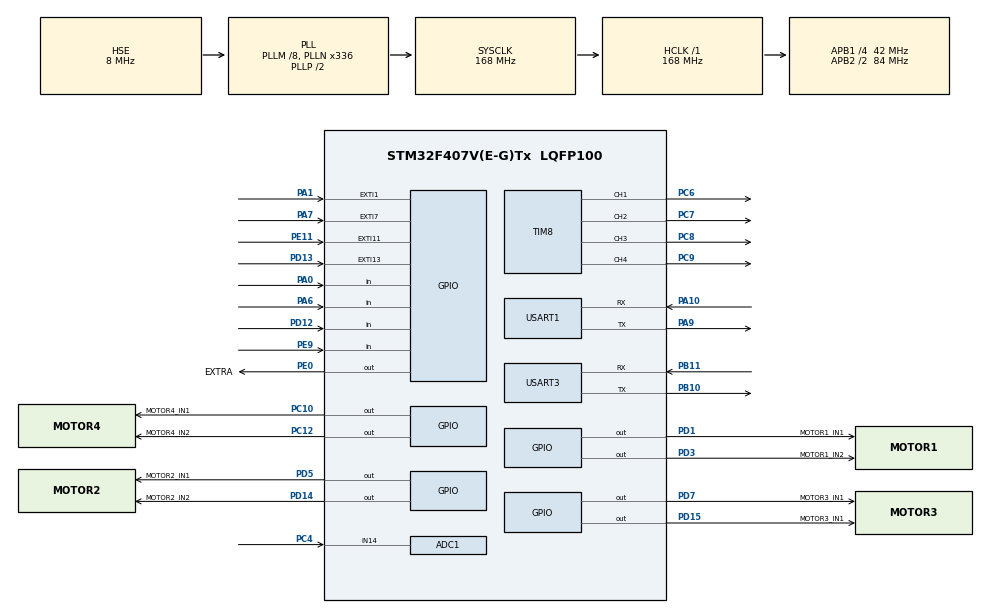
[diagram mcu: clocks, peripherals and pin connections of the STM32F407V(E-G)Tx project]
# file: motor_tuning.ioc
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ADC1.Channel-0\#ChannelRegularConversion=ADC_CHANNEL_14
ADC1.NbrOfConversionFlag=1
ADC1.Rank-0\#ChannelRegularConversion=1
ADC1.SamplingTime-0\#ChannelRegularConversion=ADC_SAMPLETIME_3CYCLES
ADC1.master=1
Dma.Request0=USART3_RX
Dma.Request1=USART3_TX
Dma.USART3_RX.0.Direction=DMA_PERIPH_TO_MEMORY
Dma.USART3_RX.0.FIFOMode=DMA_FIFOMODE_DISABLE
Dma.USART3_RX.0.Instance=DMA1_Stream1
Dma.USART3_RX.0.MemDataAlignment=DMA_MDATAALIGN_BYTE
Dma.USART3_RX.0.MemInc=DMA_MINC_ENABLE
Dma.USART3_RX.0.Mode=DMA_NORMAL
Dma.USART3_RX.0.PeriphDataAlignment=DMA_PDATAALIGN_BYTE
Dma.USART3_RX.0.PeriphInc=DMA_PINC_DISABLE
Dma.USART3_RX.0.Priority=DMA_PRIORITY_LOW
Dma.USART3_TX.1.Direction=DMA_MEMORY_TO_PERIPH
Dma.USART3_TX.1.FIFOMode=DMA_FIFOMODE_DISABLE
Dma.USART3_TX.1.Instance=DMA1_Stream3
Dma.USART3_TX.1.MemDataAlignment=DMA_MDATAALIGN_BYTE
Dma.USART3_TX.1.MemInc=DMA_MINC_ENABLE
Dma.USART3_TX.1.Mode=DMA_NORMAL
Dma.USART3_TX.1.PeriphDataAlignment=DMA_PDATAALIGN_BYTE
Dma.USART3_TX.1.PeriphInc=DMA_PINC_DISABLE
Dma.USART3_TX.1.Priority=DMA_PRIORITY_LOW
Mcu.Family=STM32F4
Mcu.Name=STM32F407V(E-G)Tx
Mcu.Package=LQFP100
NVIC.DMA1_Stream1_IRQn=true\:0\:0\:false\:false\:true\:false
NVIC.DMA1_Stream3_IRQn=true\:0\:0\:false\:false\:true\:false
NVIC.EXTI15_10_IRQn=true\:0\:0\:false\:false\:true\:true
NVIC.EXTI1_IRQn=true\:0\:0\:false\:false\:true\:true
NVIC.EXTI9_5_IRQn=true\:0\:0\:false\:false\:true\:true
NVIC.PriorityGroup=NVIC_PRIORITYGROUP_4
PA0-WKUP.GPIO_PuPd=GPIO_PULLUP
PA0-WKUP.Signal=GPIO_Input
PA1.Signal=GPXTI1
PA10.Mode=Asynchronous
PA10.Signal=USART1_RX
PA13.Mode=Trace_Asynchronous_SW
PA13.Signal=SYS_JTMS-SWDIO
PA14.Mode=Trace_Asynchronous_SW
PA14.Signal=SYS_JTCK-SWCLK
PA6.GPIO_PuPd=GPIO_PULLUP
PA6.Signal=GPIO_Input
PA7.Signal=GPXTI7
PA9.Mode=Asynchronous
PA9.Signal=USART1_TX
PB10.Mode=Asynchronous
PB10.Signal=USART3_TX
PB11.Mode=Asynchronous
PB11.Signal=USART3_RX
PB3.Mode=Trace_Asynchronous_SW
PB3.Signal=SYS_JTDO-SWO
PC10.GPIO_Label=MOTOR4_IN1
PC10.GPIO_Speed=GPIO_SPEED_FREQ_VERY_HIGH
PC10.Signal=GPIO_Output
PC12.GPIO_Label=MOTOR4_IN2
PC12.GPIO_Speed=GPIO_SPEED_FREQ_VERY_HIGH
PC12.Signal=GPIO_Output
PC4.Signal=ADCx_IN14
PC6.Signal=S_TIM8_CH1
PC7.Signal=S_TIM8_CH2
PC8.Signal=S_TIM8_CH3
PC9.Signal=S_TIM8_CH4
PD1.GPIO_Label=MOTOR1_IN1
PD1.GPIO_Speed=GPIO_SPEED_FREQ_VERY_HIGH
PD1.Signal=GPIO_Output
PD12.GPIO_Mode=GPIO_MODE_INPUT
PD12.GPIO_PuPd=GPIO_PULLUP
PD12.Signal=GPIO_Input
PD13.Signal=GPXTI13
PD14.GPIO_Label=MOTOR2_IN2
PD14.GPIO_Speed=GPIO_SPEED_FREQ_VERY_HIGH
PD14.Signal=GPIO_Output
PD15.GPIO_Label=MOTOR3_IN1
PD15.GPIO_Speed=GPIO_SPEED_FREQ_VERY_HIGH
PD15.Signal=GPIO_Output
PD3.GPIO_Label=MOTOR1_IN2
PD3.GPIO_Speed=GPIO_SPEED_FREQ_VERY_HIGH
PD3.Signal=GPIO_Output
PD5.GPIO_Label=MOTOR2_IN1
PD5.GPIO_Speed=GPIO_SPEED_FREQ_VERY_HIGH
PD5.Signal=GPIO_Output
PD7.GPIO_Label=MOTOR3_IN1
PD7.GPIO_Speed=GPIO_SPEED_FREQ_VERY_HIGH
PD7.Signal=GPIO_Output
PE0.GPIO_Label=EXTRA
PE0.GPIO_Speed=GPIO_SPEED_FREQ_VERY_HIGH
PE0.Signal=GPIO_Output
PE11.Signal=GPXTI11
PE9.GPIO_PuPd=GPIO_PULLUP
PE9.Signal=GPIO_Input
PH0-OSC_IN.Mode=HSE-External-Oscillator
PH0-OSC_IN.Signal=RCC_OSC_IN
PH1-OSC_OUT.Mode=HSE-External-Oscillator
PH1-OSC_OUT.Signal=RCC_OSC_OUT
ProjectManager.HeapSize=0x200
ProjectManager.StackSize=0x400
ProjectManager.TargetToolchain=MDK-ARM V5
RCC.48MHZClocksFreq_Value=84000000
RCC.AHBFreq_Value=168000000
RCC.APB1CLKDivider=RCC_HCLK_DIV4
RCC.APB1Freq_Value=42000000
RCC.APB1TimFreq_Value=84000000
RCC.APB2CLKDivider=RCC_HCLK_DIV2
RCC.APB2Freq_Value=84000000
RCC.APB2TimFreq_Value=168000000
RCC.CortexFreq_Value=168000000
RCC.HCLKFreq_Value=168000000
RCC.HSE_VALUE=8000000
RCC.HSI_VALUE=16000000
RCC.LSE_VALUE=32768
RCC.PLLM=8
RCC.PLLN=336
RCC.PLLSourceVirtual=RCC_PLLSOURCE_HSE
RCC.SYSCLKFreq_VALUE=168000000
RCC.SYSCLKSource=RCC_SYSCLKSOURCE_PLLCLK
RCC.VCOOutputFreq_Value=336000000
SH.ADCx_IN14.0=ADC1_IN14,IN14
SH.S_TIM8_CH1.0=TIM8_CH1,PWM Generation1 CH1
SH.S_TIM8_CH2.0=TIM8_CH2,PWM Generation2 CH2
SH.S_TIM8_CH3.0=TIM8_CH3,PWM Generation3 CH3
SH.S_TIM8_CH4.0=TIM8_CH4,PWM Generation4 CH4
TIM8.Channel-PWM\ Generation1\ CH1=TIM_CHANNEL_1
TIM8.Channel-PWM\ Generation2\ CH2=TIM_CHANNEL_2
TIM8.Channel-PWM\ Generation3\ CH3=TIM_CHANNEL_3
TIM8.Channel-PWM\ Generation4\ CH4=TIM_CHANNEL_4
USART1.VirtualMode=VM_ASYNC
USART3.VirtualMode=VM_ASYNC
board=custom

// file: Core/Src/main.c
/**
  ******************************************************************************
  * @file           : main.c
  * @brief          : Main program body
  ******************************************************************************
  ** This notice applies to any and all portions of this file
  * that are not between comment pairs USER CODE BEGIN and
  * USER CODE END. Other portions of this file, whether
  * inserted by the user or by software development tools
  * are owned by their respective copyright owners.
  *
  * COPYRIGHT(c) 2018 STMicroelectronics
  *
  * Redistribution and use in source and binary forms, with or without modification,
  * are permitted provided that the following conditions are met:
  *   1. Redistributions of source code must retain the above copyright notice,
  *      this list of conditions and the following disclaimer.
  *   2. Redistributions in binary form must reproduce the above copyright notice,
  *      this list of conditions and the following disclaimer in the documentation
  *      and/or other materials provided with the distribution.
  *   3. Neither the name of STMicroelectronics nor the names of its contributors
  *      may be used to endorse or promote products derived from this software
  *      without specific prior written permission.
  *
  * THIS SOFTWARE IS PROVIDED BY THE COPYRIGHT HOLDERS AND CONTRIBUTORS "AS IS"
  * AND ANY EXPRESS OR IMPLIED WARRANTIES, INCLUDING, BUT NOT LIMITED TO, THE
  * IMPLIED WARRANTIES OF MERCHANTABILITY AND FITNESS FOR A PARTICULAR PURPOSE ARE
  * DISCLAIMED. IN NO EVENT SHALL THE COPYRIGHT HOLDER OR CONTRIBUTORS BE LIABLE
  * FOR ANY DIRECT, INDIRECT, INCIDENTAL, SPECIAL, EXEMPLARY, OR CONSEQUENTIAL
  * DAMAGES (INCLUDING, BUT NOT LIMITED TO, PROCUREMENT OF SUBSTITUTE GOODS OR
  * SERVICES; LOSS OF USE, DATA, OR PROFITS; OR BUSINESS INTERRUPTION) HOWEVER
  * CAUSED AND ON ANY THEORY OF LIABILITY, WHETHER IN CONTRACT, STRICT LIABILITY,
  * OR TORT (INCLUDING NEGLIGENCE OR OTHERWISE) ARISING IN ANY WAY OUT OF THE USE
  * OF THIS SOFTWARE, EVEN IF ADVISED OF THE POSSIBILITY OF SUCH DAMAGE.
  *
  ******************************************************************************
  */
#include "main.h"
#include "stm32f4xx_hal.h"
#include "adc.h"
#include "dma.h"
#include "tim.h"
#include "usart.h"
#include "gpio.h"

/* USER CODE BEGIN Includes */
#include "robo_init.h"
#include "robot.h"
#include "pid.h"
#include <stdlib.h>
#include "drive.h"

/* USER CODE END Includes */

/* USER CODE BEGIN PV */
extern double velocity[3];
extern float robotx, roboty, theta;
extern int32_t counts[4] ;
extern struct Str_pid pid_1;
extern struct Str_pid pid_2;
extern struct Str_pid pid_3;
extern struct Str_pid pid_4;
extern struct Str_pid_distance pid_dis_1;
extern struct Str_pid_distance pid_dis_2;
extern struct Str_pid_distance pid_dis_3;
extern uint16_t   update_tick;
extern struct Wheel Wheel_arr[4];
float go[697][2] = {{-10 , 12.2449},
			{-10 , 12.2449},
			{-10 , 12.2449},
			{-10 , 12.2449},
			{-10 , 12.2449},
			{-10 , 12.2449},
			{-10 , 12.2449},
			{-10 , 12.2449},
			{-10 , 12.2449},
			{-10 , 12.2449},
			{-10 , 12.2449},
			{-10 , 12.2449},
			{-10 , 12.2449},
			{-10 , 12.2449},
			{-10 , 12.2449},
			{-10 , 12.2449},
			{-10 , 12.2449},
			{-10 , 12.2449},
			{-10 , 12.2449},
			{-10 , 12.2449},
			{-10 , 12.2449},
			{-10 , 12.2449},
			{-10 , 12.2449},
			{-10 , 12.2449},
			{-10 , 12.2449},
			{-10 , 12.2449},
			{-10 , 12.2449},
			{-10 , 12.2449},
			{-10 , 12.2449},
			{-10 , 12.2449},
			{-10 , 12.2449},
			{-10 , 12.2449},
			{-10 , 12.2449},
			{-10 , 12.2449},
			{-10 , 12.2449},
			{-10 , 12.2449},
			{-10 , 12.2449},
			{-10 , 12.2449},
			{-10 , 12.2449},
			{-10 , 12.2449},
			{-10 , 12.2449},
			{-10 , 12.2449},
			{-10 , 12.2449},
			{-10 , 12.2449},
			{-10 , 12.2449},
			{-10 , 12.2449},
			{-10 , 12.2449},
			{-10 , 12.245},
			{-10 , 12.2449},
			{-10 , 12.2449},
			{-10 , 12.2449},
			{-10 , 12.2449},
			{-10 , 12.245},
			{-10 , 12.2449},
			{-10 , 12.2449},
			{-10 , 12.2449},
			{-10 , 12.2449},
			{-10 , 12.245},
			{-10 , 12.2449},
			{-10 , 12.2449},
			{-10 , 12.2449},
			{-10 , 12.2449},
			{-10 , 12.245},
			{-10 , 12.2449},
			{-10 , 12.2449},
			{-10 , 12.2449},
			{-10 , 12.2449},
			{-10 , 12.245},
			{-10 , 12.2449},
			{-10 , 12.2449},
			{-10 , 12.2449},
			{-10 , 12.2449},
			{-10 , 12.245},
			{-10 , 12.2449},
			{-10 , 12.2449},
			{-10 , 12.2449},
			{-10 , 12.245},
			{-10 , 12.2449},
			{-10 , 12.2449},
			{-10 , 12.2449},
			{-10 , 12.2449},
			{-10 , 12.245},
			{-10 , 12.2449},
			{-10 , 12.2449},
			{-10 , 12.2449},
			{-10 , 12.2449},
			{-10 , 12.245},
			{-10 , 12.2449},
			{-10 , 12.2449},
			{-10 , 12.2449},
			{-10 , 12.2449},
			{-10 , 12.245},
			{-10 , 12.2449},
			{-10 , 12.2449},
			{-10 , 12.2449},
			{-10 , 12.2449},
			{-10 , 12.245},
			{-10 , 12.2449},
			{-10 , 12.2449},
			{-10 , 12.2449},
			{-10 , 12.2449},
			{-10 , 12.245},
			{-10 , 12.2449},
			{-10 , 12.2449},
			{-10 , 12.2449},
			{-10 , 12.2449},
			{-10 , 12.245},
			{-10 , 12.2449},
			{-10 , 12.2449},
			{-10 , 12.2449},
			{-10 , 12.2449},
			{-10 , 12.245},
			{-10 , 12.2449},
			{-10 , 12.2449},
			{-10 , 12.2449},
			{-10 , 12.2449},
			{-10 , 12.245},
			{-10 , 12.2449},
			{-10 , 12.2449},
			{-10 , 12.2449},
			{-10 , 12.2449},
			{-10 , 12.245},
			{-10 , 12.2449},
			{10 , 149.248},
			{10 , 60.752},
			{10 , 45.8809},
			{10 , 38.0579},
			{10 , 32.9788},
			{10 , 29.3127},
			{10 , 26.4902},
			{10 , 24.2192},
			{10 , 22.333},
			{10 , 20.7273},
			{10 , 19.3347},
			{10 , 18.1077},
			{10 , 17.0127},
			{10 , 16.0254},
			{10 , 15.1267},
			{10 , 14.302},
			{10 , 13.54},
			{10 , 12.832},
			{10 , 12.1702},
			{10 , 11.5486},
			{10 , 10.9624},
			{10 , 10.407},
			{10 , 9.87939},
			{10 , 9.37598},
			{10 , 8.89429},
			{10 , 8.43237},
			{10 , 7.98779},
			{10 , 7.55908},
			{10 , 7.14478},
			{10 , 6.74341},
			{10 , 6.35327},
			{10 , 5.97437},
			{10 , 5.60498},
			{10 , 5.24414},
			{10 , 4.89111},
			{10 , 4.54565},
			{10 , 4.20654},
			{10 , 3.87305},
			{10 , 3.54541},
			{10 , 3.22192},
			{10 , 2.90308},
			{10 , 2.58765},
			{10 , 2.27588},
			{10 , 1.9668},
			{10 , 1.66016},
			{10 , 1.35571},
			{10 , 1.05249},
			{10 , 0.750977},
			{10 , 0.450439},
			{10.4712 , 10},
			{10.4712 , 10},
			{10.4667 , 10},
			{10.4574 , 10},
			{10.4436 , 10},
			{10.4254 , 10},
			{10.4023 , 10},
			{10.3749 , 10},
			{10.3429 , 10},
			{10.3063 , 10},
			{10.2651 , 10},
			{10.2196 , 10},
			{10.1696 , 10},
			{10.115 , 10},
			{10.0559 , 10},
			{9.99268 , 10},
			{9.9248 , 10},
			{9.85266 , 10},
			{9.77625 , 10},
			{9.69556 , 10},
			{9.61053 , 10},
			{9.5213 , 10},
			{9.42792 , 10},
			{9.33044 , 10},
			{9.22882 , 10},
			{9.12317 , 10},
			{9.01349 , 10},
			{8.8999 , 10},
			{8.78241 , 10},
			{8.66101 , 10},
			{8.53583 , 10},
			{8.40692 , 10},
			{8.27435 , 10},
			{8.13806 , 10},
			{7.99835 , 10},
			{7.85498 , 10},
			{7.70825 , 10},
			{7.55811 , 10},
			{7.40466 , 10},
			{7.24799 , 10},
			{7.08807 , 10},
			{6.92511 , 10},
			{6.75909 , 10},
			{6.59015 , 10},
			{6.41821 , 10},
			{6.24353 , 10},
			{6.0661 , 10},
			{5.88605 , 10},
			{5.70331 , 10},
			{5.51819 , 10},
			{5.33057 , 10},
			{5.14062 , 10},
			{4.94849 , 10},
			{4.75409 , 10},
			{4.55762 , 10},
			{4.35919 , 10},
			{4.15887 , 10},
			{3.95667 , 10},
			{3.75275 , 10},
			{3.54718 , 10},
			{3.34009 , 10},
			{3.13147 , 10},
			{2.92157 , 10},
			{2.71027 , 10},
			{2.49786 , 10},
			{2.28436 , 10},
			{2.06982 , 10},
			{1.85443 , 10},
			{1.63812 , 10},
			{1.4212 , 10},
			{1.20355 , 10},
			{0.985535 , 10},
			{0.766907 , 10},
			{0.548035 , 10},
			{0.328918 , 10},
			{0.10968 , 10},
			{-0.10968 , 10},
			{-0.328918 , 10},
			{-0.548035 , 10},
			{-0.766907 , 10},
			{-0.985535 , 10},
			{-1.20355 , 10},
			{-1.4212 , 10},
			{-1.63812 , 10},
			{-1.85443 , 10},
			{-2.06982 , 10},
			{-2.28436 , 10},
			{-2.49786 , 10},
			{-2.71027 , 10},
			{-2.92157 , 10},
			{-3.13147 , 10},
			{-3.34009 , 10},
			{-3.54718 , 10},
			{-3.75275 , 10},
			{-3.95667 , 10},
			{-4.15887 , 10},
			{-4.35919 , 10},
			{-4.55762 , 10},
			{-4.75409 , 10},
			{-4.94849 , 10},
			{-5.14062 , 10},
			{-5.33057 , 10},
			{-5.51819 , 10},
			{-5.70331 , 10},
			{-5.88605 , 10},
			{-6.0661 , 10},
			{-6.24353 , 10},
			{-6.41821 , 10},
			{-6.59015 , 10},
			{-6.75909 , 10},
			{-6.92511 , 10},
			{-7.08807 , 10},
			{-7.24799 , 10},
			{-7.40466 , 10},
			{-7.55811 , 10},
			{-7.70825 , 10},
			{-7.85498 , 10},
			{-7.99835 , 10},
			{-8.13806 , 10},
			{-8.27435 , 10},
			{-8.40692 , 10},
			{-8.53583 , 10},
			{-8.66101 , 10},
			{-8.78241 , 10},
			{-8.8999 , 10},
			{-9.01349 , 10},
			{-9.12317 , 10},
			{-9.22882 , 10},
			{-9.33044 , 10},
			{-9.42792 , 10},
			{-9.5213 , 10},
			{-9.61053 , 10},
			{-9.69556 , 10},
			{-9.77625 , 10},
			{-9.85266 , 10},
			{-9.9248 , 10},
			{-9.99268 , 10},
			{-10.0559 , 10},
			{-10.115 , 10},
			{-10.1696 , 10},
			{-10.2196 , 10},
			{-10.2651 , 10},
			{-10.3063 , 10},
			{-10.3429 , 10},
			{-10.3749 , 10},
			{-10.4023 , 10},
			{-10.4254 , 10},
			{-10.4436 , 10},
			{-10.4574 , 10},
			{-10.4667 , 10},
			{-10.4712 , 10},
			{-10.4712 , 10},
			{-10.4667 , 10},
			{-10.4574 , 10},
			{-10.4436 , 10},
			{-10.4254 , 10},
			{-10.4023 , 10},
			{-10.3749 , 10},
			{-10.3429 , 10},
			{-10.3063 , 10},
			{-10.2651 , 10},
			{-10.2196 , 10},
			{-10.1696 , 10},
			{-10.115 , 10},
			{-10.0559 , 10},
			{-9.99268 , 10},
			{-9.9248 , 10},
			{-9.85266 , 10},
			{-9.77625 , 10},
			{-9.69556 , 10},
			{-9.61047 , 10},
			{-9.52136 , 10},
			{-9.42798 , 10},
			{-9.33044 , 10},
			{-9.22876 , 10},
			{-9.12317 , 10},
			{-9.01355 , 10},
			{-8.8999 , 10},
			{-8.78235 , 10},
			{-8.66101 , 10},
			{-8.53577 , 10},
			{-8.40698 , 10},
			{-8.27429 , 10},
			{-8.13818 , 10},
			{-7.99829 , 10},
			{-7.85498 , 10},
			{-7.70825 , 10},
			{-7.55811 , 10},
			{-7.40466 , 10},
			{-7.24792 , 10},
			{-7.08813 , 10},
			{-6.92517 , 10},
			{-6.75903 , 10},
			{-6.59009 , 10},
			{-6.41833 , 10},
			{-6.24353 , 10},
			{-6.06604 , 10},
			{-5.88599 , 10},
			{-5.70337 , 10},
			{-5.51819 , 10},
			{-5.33057 , 10},
			{-5.14062 , 10},
			{-4.94849 , 10},
			{-4.75403 , 10},
			{-4.55774 , 10},
			{-4.35913 , 10},
			{-4.15881 , 10},
			{-3.95667 , 10},
			{-3.75281 , 10},
			{-3.54724 , 10},
			{-3.33997 , 10},
			{-3.13159 , 10},
			{-2.92151 , 10},
			{-2.71033 , 10},
			{-2.4978 , 10},
			{-2.28442 , 10},
			{-2.06982 , 10},
			{-1.85437 , 10},
			{-1.63806 , 10},
			{-1.42126 , 10},
			{-1.20361 , 10},
			{-0.985474 , 10},
			{-0.766846 , 10},
			{-0.548096 , 10},
			{-0.328979 , 10},
			{-0.109619 , 10},
			{0.109619 , 10},
			{0.328979 , 10},
			{0.548096 , 10},
			{0.766846 , 10},
			{0.985474 , 10},
			{1.20361 , 10},
			{1.42126 , 10},
			{1.63806 , 10},
			{1.85437 , 10},
			{2.06982 , 10},
			{2.28442 , 10},
			{2.4978 , 10},
			{2.71033 , 10},
			{2.92151 , 10},
			{3.13159 , 10},
			{3.33997 , 10},
			{3.54724 , 10},
			{3.75281 , 10},
			{3.95667 , 10},
			{4.15881 , 10},
			{4.35913 , 10},
			{4.55774 , 10},
			{4.75403 , 10},
			{4.94849 , 10},
			{5.14062 , 10},
			{5.33057 , 10},
			{5.51819 , 10},
			{5.70337 , 10},
			{5.88599 , 10},
			{6.06604 , 10},
			{6.24353 , 10},
			{6.41833 , 10},
			{6.59009 , 10},
			{6.75903 , 10},
			{6.92517 , 10},
			{7.08813 , 10},
			{7.24792 , 10},
			{7.40466 , 10},
			{7.55811 , 10},
			{7.70825 , 10},
			{7.85498 , 10},
			{7.99829 , 10},
			{8.13818 , 10},
			{8.27429 , 10},
			{8.40698 , 10},
			{8.53577 , 10},
			{8.66101 , 10},
			{8.78235 , 10},
			{8.8999 , 10},
			{9.01355 , 10},
			{9.12317 , 10},
			{9.22876 , 10},
			{9.33044 , 10},
			{9.42798 , 10},
			{9.52136 , 10},
			{9.61047 , 10},
			{9.69556 , 10},
			{9.77625 , 10},
			{9.85266 , 10},
			{9.9248 , 10},
			{9.99268 , 10},
			{10.0559 , 10},
			{10.115 , 10},
			{10.1696 , 10},
			{10.2196 , 10},
			{10.2651 , 10},
			{10.3063 , 10},
			{10.3429 , 10},
			{10.3749 , 10},
			{10.4023 , 10},
			{10.4254 , 10},
			{10.4436 , 10},
			{10.4574 , 10},
			{10.4667 , 10},
			{-0 , 10},
			{-0 , 10},
			{-0 , 10},
			{-0 , 10},
			{-0 , 10},
			{-0 , 10},
			{-0 , 10},
			{-0 , 10},
			{-0 , 10},
			{-0 , 10},
			{-0 , 10},
			{-0 , 10},
			{-0 , 10},
			{-0 , 10},
			{-0 , 10},
			{-0 , 10},
			{-0 , 10},
			{-0 , 10},
			{-0 , 10},
			{-0 , 10},
			{-0 , 10},
			{-0 , 10},
			{-0 , 10},
			{-0 , 10},
			{-0 , 10},
			{-0 , 10},
			{-0 , 10},
			{-0 , 10},
			{-0 , 10},
			{-0 , 10},
			{-0 , 10},
			{-0 , 10},
			{-0 , 10},
			{-0 , 10},
			{-0 , 10},
			{-0 , 10},
			{-0 , 10},
			{-0 , 10},
			{-0 , 10},
			{-0 , 10},
			{-0 , 10},
			{-0 , 10},
			{-0 , 10},
			{-0 , 10},
			{-0 , 10},
			{-0 , 10},
			{-0 , 10},
			{-0 , 10},
			{-0 , 10},
			{-0 , 10},
			{-0 , 10},
			{-0 , 10},
			{-0 , 10},
			{-0 , 10},
			{-0 , 10},
			{-0 , 10},
			{-0 , 10},
			{-0 , 10},
			{-0 , 10},
			{-0 , 10},
			{-0 , 10},
			{-0 , 10},
			{-0 , 10},
			{-0 , 10},
			{-0 , 10},
			{-0 , 10},
			{-0 , 10},
			{-0 , 10},
			{-0 , 10},
			{-0 , 10},
			{-0 , 10},
			{-0 , 10},
			{-0 , 10},
			{-0 , 10},
			{-0 , 10},
			{-0 , 10},
			{-0 , 10},
			{-0 , 10},
			{-0 , 10},
			{-0 , 10},
			{-0 , 10},
			{-0 , 10},
			{-0 , 10},
			{-0 , 10},
			{-0 , 10},
			{-0 , 10},
			{-0 , 10},
			{-0 , 10},
			{-0 , 10},
			{-0 , 10},
			{-0 , 10},
			{-0 , 10},
			{-0 , 10},
			{-0 , 10},
			{-0 , 10},
			{-0 , 10},
			{-0 , 10},
			{-0 , 10},
			{-0 , 10},
			{-0 , 10},
			{-0 , 10},
			{-0 , 10},
			{-0 , 10},
			{-0 , 10},
			{-0 , 10},
			{-0 , 10},
			{-0 , 10},
			{-0 , 10},
			{-0 , 10},
			{-0 , 10},
			{-0 , 10},
			{-0 , 10},
			{-0 , 10},
			{-0 , 10},
			{-0 , 10},
			{-0 , 10},
			{-0 , 10},
			{-0 , 10},
			{-0 , 10},
			{-0 , 10},
			{-0 , 10},
			{-0 , 10},
			{-0 , 10},
			{-0 , 10},
			{-0 , 10},
			{-0 , 10},
			{-0 , 10},
			{-0 , 10},
			{-0 , 10},
			{-0 , 10},
			{-0 , 10},
			{-0 , 10},
			{-0 , 10},
			{-0 , 10},
			{-0 , 10},
			{-0 , 10},
			{-0 , 10},
			{-0 , 10},
			{-0 , 10},
			{-0 , 10},
			{-0 , 10},
			{-0 , 10},
			{-0 , 10},
			{-0 , 10},
			{-0 , 10},
			{-0 , 10},
			{-0 , 10},
			{-0 , 10},
			{-0 , 10},
			{-0 , 10},
			{-0 , 10},
			{-0 , 10},
			{-0 , 10},
			{-0 , 10},
			{-0 , 10},
			{-0 , 10},
			{-0 , 10},
			{-0 , 10},
			{-0 , 10},
			{-0 , 10},
			{-0 , 10},
			{-0 , 10},
			{-0 , 10},
			{-0 , 10},
			{-0 , 10},
			{-0 , 10},
			{-0 , 10},
			{-0 , 10},
			{-0 , 10},
			{-0 , 10},
			{-0 , 10},
			{-0 , 10},
			{-0 , 10},
			{-0 , 10},
			{-0 , 10},
			{-0 , 10},
			{-0 , 10},
			{-0 , 10},
			{-0 , 10},
			{-0 , 10},
			{-0 , 10},
			{-0 , 10},
			{-0 , 10},
			{-0 , 10},
			{-0 , 10},
			{-0 , 10},
			{-0 , 10},
			{-0 , 10},
			{-0 , 10},
			{-0 , 10},
			{-0 , 10},
			{-0 , 10},
			{-0 , 10},
			{-0 , 10},
			{-0 , 10},
			{-0 , 10},
			{-0 , 10},
			{-0 , 10},
			{-0 , 10},
			{-0 , 10},
			{-0 , 10},
			{-0 , 10},
			{-0 , 10},
			{-0 , 10},
			{-0 , 10},
			{-0 , 10},
			{-0 , 10},
			{-0 , 10},
			{-0 , 10},
			{-0 , 10},
			{-0 , 10},
			{-0 , 10},
			{-0 , 10},
			{-0 , 10},
			{-0 , 10},
			{-0 , 10},
			{-0 , 10},
			{-0 , 10},
			{-0 , 10},
			{-0 , 10},
			{-0 , 10},
			{-0 , 10},
			{-0 , 10},
			{-0 , 10},
			{-0 , 10}};

/* Private variables ---------------------------------------------------------*/

/* USER CODE END PV */

void SystemClock_Config(void);

/* USER CODE BEGIN PFP */
/* Private function prototypes -----------------------------------------------*/

/* USER CODE END PFP */

/* USER CODE BEGIN 0 */

struct __FILE{

int handle;
};

FILE __stdout;
FILE __stdin;

int fputc(int ch, FILE *f)
{
	ITM_SendChar(ch);
	return(ch);
}

/* USER CODE END 0 */

int main(void)
{
  /* USER CODE BEGIN 1 */

        update_tick = HAL_GetTick();
        set_Gains_distance(&pid_dis_1, 13.55,0.025,300);	  // 13.55,0.025,300	25.55,0.004,1000
		set_Gains_distance(&pid_dis_2, 7.465,0.011,200);    // 7.465,0.011,200
		set_Gains_distance(&pid_dis_3, 2500,0.1,800);

  /* USER CODE END 1 */

  /* MCU Configuration----------------------------------------------------------*/

  /* Reset of all peripherals, Initializes the Flash interface and the Systick. */
  HAL_Init();

  /* Configure the system clock */
  SystemClock_Config();

  /* Initialize all configured peripherals */
  MX_GPIO_Init();
  MX_DMA_Init();
  MX_ADC1_Init();
  MX_TIM8_Init();
  MX_USART3_UART_Init();
  MX_USART1_UART_Init();
  /* USER CODE BEGIN 2 */

		wheel_init();
		init_encoder();

		set_OutputLimit(&pid_1,120,-120);
		set_OutputLimit(&pid_2,120,-120);
		set_OutputLimit(&pid_3,120,-120);
		set_OutputLimit(&pid_4,120,-120);

		HAL_TIM_Base_Start(&htim8);
		HAL_TIM_PWM_Start(&htim8, TIM_CHANNEL_1);
		HAL_TIM_PWM_Start(&htim8, TIM_CHANNEL_2);
		HAL_TIM_PWM_Start(&htim8, TIM_CHANNEL_3);
		HAL_TIM_PWM_Start(&htim8, TIM_CHANNEL_4);

  /* USER CODE END 2 */

  /* Infinite loop */
  /* USER CODE BEGIN WHILE */

  while(1)
  {
	 	printf("Hello\n");
		velocity[0]=0;
		velocity[1]=0;
		velocity[2]=0;
		calculate_robot_velocity();
		calculate_robot_distance();
	}
  /* USER CODE END WHILE */

}

void SystemClock_Config(void)
{

  RCC_OscInitTypeDef RCC_OscInitStruct;
  RCC_ClkInitTypeDef RCC_ClkInitStruct;

    /**Configure the main internal regulator output voltage
    */
  __HAL_RCC_PWR_CLK_ENABLE();

  __HAL_PWR_VOLTAGESCALING_CONFIG(PWR_REGULATOR_VOLTAGE_SCALE1);

    /**Initializes the CPU, AHB and APB busses clocks
    */
  RCC_OscInitStruct.OscillatorType = RCC_OSCILLATORTYPE_HSE;
  RCC_OscInitStruct.HSEState = RCC_HSE_ON;
  RCC_OscInitStruct.PLL.PLLState = RCC_PLL_ON;
  RCC_OscInitStruct.PLL.PLLSource = RCC_PLLSOURCE_HSE;
  RCC_OscInitStruct.PLL.PLLM = 8;
  RCC_OscInitStruct.PLL.PLLN = 336;
  RCC_OscInitStruct.PLL.PLLP = RCC_PLLP_DIV2;
  RCC_OscInitStruct.PLL.PLLQ = 4;
  if (HAL_RCC_OscConfig(&RCC_OscInitStruct) != HAL_OK)
  {
    _Error_Handler(__FILE__, __LINE__);
  }

    /**Initializes the CPU, AHB and APB busses clocks
    */
  RCC_ClkInitStruct.ClockType = RCC_CLOCKTYPE_HCLK|RCC_CLOCKTYPE_SYSCLK
                              |RCC_CLOCKTYPE_PCLK1|RCC_CLOCKTYPE_PCLK2;
  RCC_ClkInitStruct.SYSCLKSource = RCC_SYSCLKSOURCE_PLLCLK;
  RCC_ClkInitStruct.AHBCLKDivider = RCC_SYSCLK_DIV1;
  RCC_ClkInitStruct.APB1CLKDivider = RCC_HCLK_DIV4;
  RCC_ClkInitStruct.APB2CLKDivider = RCC_HCLK_DIV2;

  if (HAL_RCC_ClockConfig(&RCC_ClkInitStruct, FLASH_LATENCY_5) != HAL_OK)
  {
    _Error_Handler(__FILE__, __LINE__);
  }

    /**Configure the Systick interrupt time
    */
  HAL_SYSTICK_Config(HAL_RCC_GetHCLKFreq()/1000);

    /**Configure the Systick
    */
  HAL_SYSTICK_CLKSourceConfig(SYSTICK_CLKSOURCE_HCLK);

  /* SysTick_IRQn interrupt configuration */
  HAL_NVIC_SetPriority(SysTick_IRQn, 0, 0);
}

void _Error_Handler(char *file, int line)
{
        while (1)
        {
        }
}

/************************ (C) COPYRIGHT STMicroelectronics *****END OF FILE****/
